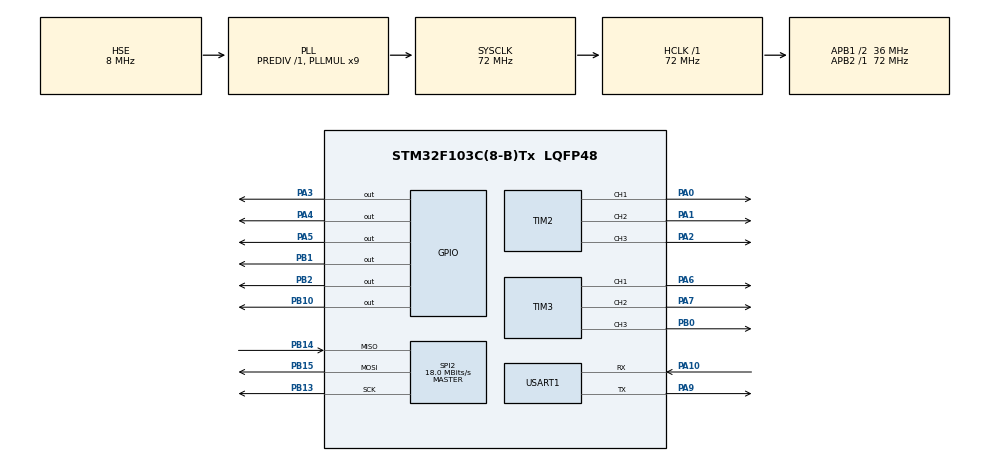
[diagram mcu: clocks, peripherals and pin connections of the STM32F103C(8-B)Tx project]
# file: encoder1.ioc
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Dma.Request0=USART1_RX
Dma.USART1_RX.0.Direction=DMA_PERIPH_TO_MEMORY
Dma.USART1_RX.0.Instance=DMA1_Channel5
Dma.USART1_RX.0.MemDataAlignment=DMA_MDATAALIGN_BYTE
Dma.USART1_RX.0.MemInc=DMA_MINC_ENABLE
Dma.USART1_RX.0.Mode=DMA_CIRCULAR
Dma.USART1_RX.0.PeriphDataAlignment=DMA_PDATAALIGN_BYTE
Dma.USART1_RX.0.PeriphInc=DMA_PINC_DISABLE
Dma.USART1_RX.0.Priority=DMA_PRIORITY_LOW
Mcu.Family=STM32F1
Mcu.Name=STM32F103C(8-B)Tx
Mcu.Package=LQFP48
NVIC.DMA1_Channel5_IRQn=true\:0\:0\:false\:false\:true\:false\:true\:true
NVIC.PriorityGroup=NVIC_PRIORITYGROUP_4
PA0-WKUP.Signal=S_TIM2_CH1_ETR
PA1.Signal=S_TIM2_CH2
PA10.Mode=Asynchronous
PA10.Signal=USART1_RX
PA13.Mode=Serial_Wire
PA13.Signal=SYS_JTMS-SWDIO
PA14.Mode=Serial_Wire
PA14.Signal=SYS_JTCK-SWCLK
PA2.Signal=S_TIM2_CH3
PA3.Signal=GPIO_Output
PA4.Signal=GPIO_Output
PA5.Signal=GPIO_Output
PA6.Signal=S_TIM3_CH1
PA7.Signal=S_TIM3_CH2
PA9.Mode=Asynchronous
PA9.Signal=USART1_TX
PB0.Signal=S_TIM3_CH3
PB1.Signal=GPIO_Output
PB10.Signal=GPIO_Output
PB13.Mode=Full_Duplex_Master
PB13.Signal=SPI2_SCK
PB14.Mode=Full_Duplex_Master
PB14.Signal=SPI2_MISO
PB15.Mode=Full_Duplex_Master
PB15.Signal=SPI2_MOSI
PB2.Signal=GPIO_Output
PD0-OSC_IN.Mode=HSE-External-Oscillator
PD0-OSC_IN.Signal=RCC_OSC_IN
PD1-OSC_OUT.Mode=HSE-External-Oscillator
PD1-OSC_OUT.Signal=RCC_OSC_OUT
ProjectManager.HeapSize=0x200
ProjectManager.StackSize=0x400
ProjectManager.TargetToolchain=STM32CubeIDE
RCC.AHBFreq_Value=72000000
RCC.APB1CLKDivider=RCC_HCLK_DIV2
RCC.APB1Freq_Value=36000000
RCC.APB1TimFreq_Value=72000000
RCC.APB2Freq_Value=72000000
RCC.APB2TimFreq_Value=72000000
RCC.HCLKFreq_Value=72000000
RCC.PLLMUL=RCC_PLL_MUL9
RCC.PLLSourceVirtual=RCC_PLLSOURCE_HSE
RCC.SYSCLKFreq_VALUE=72000000
RCC.SYSCLKSource=RCC_SYSCLKSOURCE_PLLCLK
RCC.USBFreq_Value=72000000
SH.S_TIM2_CH1_ETR.0=TIM2_CH1,PWM Generation1 CH1
SH.S_TIM2_CH2.0=TIM2_CH2,PWM Generation2 CH2
SH.S_TIM2_CH3.0=TIM2_CH3,PWM Generation3 CH3
SH.S_TIM3_CH1.0=TIM3_CH1,PWM Generation1 CH1
SH.S_TIM3_CH2.0=TIM3_CH2,PWM Generation2 CH2
SH.S_TIM3_CH3.0=TIM3_CH3,PWM Generation3 CH3
SPI2.BaudRatePrescaler=SPI_BAUDRATEPRESCALER_2
SPI2.CalculateBaudRate=18.0 MBits/s
SPI2.Direction=SPI_DIRECTION_2LINES
SPI2.Mode=SPI_MODE_MASTER
SPI2.VirtualType=VM_MASTER
TIM2.Channel-PWM\ Generation1\ CH1=TIM_CHANNEL_1
TIM2.Channel-PWM\ Generation2\ CH2=TIM_CHANNEL_2
TIM2.Channel-PWM\ Generation3\ CH3=TIM_CHANNEL_3
TIM3.Channel-PWM\ Generation1\ CH1=TIM_CHANNEL_1
TIM3.Channel-PWM\ Generation2\ CH2=TIM_CHANNEL_2
TIM3.Channel-PWM\ Generation3\ CH3=TIM_CHANNEL_3
USART1.VirtualMode=VM_ASYNC
board=custom

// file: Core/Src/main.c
/* USER CODE BEGIN Header */
/**
  ******************************************************************************
  * @file           : main.c
  * @brief          : Main program body
  ******************************************************************************
  * @attention
  *
  * Copyright (c) 2026 STMicroelectronics.
  * All rights reserved.
  *
  * This software is licensed under terms that can be found in the LICENSE file
  * in the root directory of this software component.
  * If no LICENSE file comes with this software, it is provided AS-IS.
  *
  ******************************************************************************
  */
/* USER CODE END Header */
#include "main.h"

/* USER CODE BEGIN PD */
#define ENCODER_GEAR 9.0f
#define WHEEL_GEAR   108.0f

/* USER CODE END PD */

SPI_HandleTypeDef hspi2;

TIM_HandleTypeDef htim2;
TIM_HandleTypeDef htim3;

UART_HandleTypeDef huart1;
DMA_HandleTypeDef hdma_usart1_rx;

/* USER CODE BEGIN PV */
volatile uint8_t UART1_rxBuffer[2];

/* USER CODE END PV */

void SystemClock_Config(void);
static void MX_GPIO_Init(void);
static void MX_DMA_Init(void);
static void MX_SPI2_Init(void);
static void MX_TIM2_Init(void);
static void MX_TIM3_Init(void);
static void MX_USART1_UART_Init(void);
/* USER CODE BEGIN PFP */
void setMotor(uint8_t joystick[2]) {
    int x = (int)joystick[0] - 127;
    int y = (int)joystick[1] - 127;

    if (abs(y) > abs(x)) {
        // forward / backward
        if (y > 0) {
            HAL_GPIO_WritePin(GPIOA, GPIO_PIN_3, GPIO_PIN_RESET);
            HAL_GPIO_WritePin(GPIOA, GPIO_PIN_4, GPIO_PIN_RESET);
            HAL_GPIO_WritePin(GPIOA, GPIO_PIN_5, GPIO_PIN_RESET);
            HAL_GPIO_WritePin(GPIOB, GPIO_PIN_1, GPIO_PIN_RESET);
            HAL_GPIO_WritePin(GPIOB, GPIO_PIN_2, GPIO_PIN_RESET);
            HAL_GPIO_WritePin(GPIOB, GPIO_PIN_10, GPIO_PIN_RESET);
            // FORWARD
            TIM2->CCR1 = 2 * abs(y);
            TIM2->CCR2 = 2 * abs(y);
            TIM2->CCR3 = 2 * abs(y);
            TIM3->CCR1 = 2 * abs(y);
            TIM3->CCR2 = 2 * abs(y);
            TIM3->CCR3 = 2 * abs(y);
            // speed = y
        } else {
        	  HAL_GPIO_WritePin(GPIOA, GPIO_PIN_3, GPIO_PIN_SET);
        	  HAL_GPIO_WritePin(GPIOA, GPIO_PIN_4, GPIO_PIN_SET);
        	  HAL_GPIO_WritePin(GPIOA, GPIO_PIN_5, GPIO_PIN_SET);
        	  HAL_GPIO_WritePin(GPIOB, GPIO_PIN_1, GPIO_PIN_SET);
        	  HAL_GPIO_WritePin(GPIOB, GPIO_PIN_2, GPIO_PIN_SET);
        	  HAL_GPIO_WritePin(GPIOB, GPIO_PIN_10, GPIO_PIN_SET);
        	            // FORWARD
        	            TIM2->CCR1 = 2 * abs(y);
        	            TIM2->CCR2 = 2 * abs(y);
        	            TIM2->CCR3 = 2 * abs(y);
        	            TIM3->CCR1 = 2 * abs(y);
        	            TIM3->CCR2 = 2 * abs(y);
        	            TIM3->CCR3 = 2 * abs(y);
        	            // speed = y

        }
    } else if (abs(x) > abs(y)) {
        // rotation
        if (x > 0) {
        	  HAL_GPIO_WritePin(GPIOA, GPIO_PIN_3, GPIO_PIN_RESET);
        	  HAL_GPIO_WritePin(GPIOA, GPIO_PIN_4, GPIO_PIN_RESET);
        	  HAL_GPIO_WritePin(GPIOA, GPIO_PIN_5, GPIO_PIN_RESET);
        	  HAL_GPIO_WritePin(GPIOB, GPIO_PIN_1, GPIO_PIN_SET);
        	  HAL_GPIO_WritePin(GPIOB, GPIO_PIN_2, GPIO_PIN_SET);
        	  HAL_GPIO_WritePin(GPIOB, GPIO_PIN_10, GPIO_PIN_SET);

        	            TIM2->CCR1 = 2 * abs(x);
        	            TIM2->CCR2 = 2 * abs(x);
        	            TIM2->CCR3 = 2 * abs(x);
        	            TIM3->CCR1 = 2 * abs(x);
        	            TIM3->CCR2 = 2 * abs(x);
        	            TIM3->CCR3 = 2 * abs(x);
        	            // speed = y

        } else {
        	HAL_GPIO_WritePin(GPIOA, GPIO_PIN_3, GPIO_PIN_SET);
        	HAL_GPIO_WritePin(GPIOA, GPIO_PIN_4, GPIO_PIN_SET);
            HAL_GPIO_WritePin(GPIOA, GPIO_PIN_5, GPIO_PIN_SET);
        	HAL_GPIO_WritePin(GPIOB, GPIO_PIN_1, GPIO_PIN_RESET);
            HAL_GPIO_WritePin(GPIOB, GPIO_PIN_2, GPIO_PIN_RESET);
        	HAL_GPIO_WritePin(GPIOB, GPIO_PIN_10, GPIO_PIN_RESET);
        	        	            // FORWARD
        	        	            TIM2->CCR1 = 2 * abs(x);
        	        	            TIM2->CCR2 = 2 * abs(x);
        	        	            TIM2->CCR3 = 2 * abs(x);
        	        	            TIM3->CCR1 = 2 * abs(x);
        	        	            TIM3->CCR2 = 2 * abs(x);
        	        	            TIM3->CCR3 = 2 * abs(x);
        	        	            // speed = y

        }
    } else {
    	TIM2->CCR1 =0;
        TIM2->CCR2 = 0;
    	TIM2->CCR3 = 0;
    	TIM3->CCR1 = 0;
    	TIM3->CCR2 = 0;
    	TIM3->CCR3 = 0;
    }
}

/* USER CODE END PFP */

int main(void)
{

  /* MCU Configuration--------------------------------------------------------*/

  /* Reset of all peripherals, Initializes the Flash interface and the Systick. */
  HAL_Init();

  /* Configure the system clock */
  SystemClock_Config();

  /* Initialize all configured peripherals */
  MX_GPIO_Init();
  MX_DMA_Init();
  MX_SPI2_Init();
  MX_TIM2_Init();
  MX_TIM3_Init();
  MX_USART1_UART_Init();
  /* USER CODE BEGIN 2 */
  HAL_UART_Receive_DMA(&huart1, UART1_rxBuffer, 2);
  HAL_TIM_PWM_Start(&htim2, TIM_CHANNEL_1);
  HAL_TIM_PWM_Start(&htim2, TIM_CHANNEL_2);
  HAL_TIM_PWM_Start(&htim2, TIM_CHANNEL_3);
  HAL_TIM_PWM_Start(&htim3, TIM_CHANNEL_1);
  HAL_TIM_PWM_Start(&htim3, TIM_CHANNEL_2);
  HAL_TIM_PWM_Start(&htim3, TIM_CHANNEL_3);

  /* USER CODE END 2 */

  /* Infinite loop */
  while (1)
  {

    /* USER CODE BEGIN 3 */
	  setMotor(UART1_rxBuffer);

  }
  /* USER CODE END 3 */
}

void SystemClock_Config(void)
{
  RCC_OscInitTypeDef RCC_OscInitStruct = {0};
  RCC_ClkInitTypeDef RCC_ClkInitStruct = {0};

  /** Initializes the RCC Oscillators according to the specified parameters
  * in the RCC_OscInitTypeDef structure.
  */
  RCC_OscInitStruct.OscillatorType = RCC_OSCILLATORTYPE_HSE;
  RCC_OscInitStruct.HSEState = RCC_HSE_ON;
  RCC_OscInitStruct.HSEPredivValue = RCC_HSE_PREDIV_DIV1;
  RCC_OscInitStruct.HSIState = RCC_HSI_ON;
  RCC_OscInitStruct.PLL.PLLState = RCC_PLL_ON;
  RCC_OscInitStruct.PLL.PLLSource = RCC_PLLSOURCE_HSE;
  RCC_OscInitStruct.PLL.PLLMUL = RCC_PLL_MUL9;
  if (HAL_RCC_OscConfig(&RCC_OscInitStruct) != HAL_OK)
  {
    Error_Handler();
  }

  /** Initializes the CPU, AHB and APB buses clocks
  */
  RCC_ClkInitStruct.ClockType = RCC_CLOCKTYPE_HCLK|RCC_CLOCKTYPE_SYSCLK
                              |RCC_CLOCKTYPE_PCLK1|RCC_CLOCKTYPE_PCLK2;
  RCC_ClkInitStruct.SYSCLKSource = RCC_SYSCLKSOURCE_PLLCLK;
  RCC_ClkInitStruct.AHBCLKDivider = RCC_SYSCLK_DIV1;
  RCC_ClkInitStruct.APB1CLKDivider = RCC_HCLK_DIV2;
  RCC_ClkInitStruct.APB2CLKDivider = RCC_HCLK_DIV1;

  if (HAL_RCC_ClockConfig(&RCC_ClkInitStruct, FLASH_LATENCY_2) != HAL_OK)
  {
    Error_Handler();
  }
}

static void MX_SPI2_Init(void)
{

  /* SPI2 parameter configuration*/
  hspi2.Instance = SPI2;
  hspi2.Init.Mode = SPI_MODE_MASTER;
  hspi2.Init.Direction = SPI_DIRECTION_2LINES;
  hspi2.Init.DataSize = SPI_DATASIZE_8BIT;
  hspi2.Init.CLKPolarity = SPI_POLARITY_LOW;
  hspi2.Init.CLKPhase = SPI_PHASE_1EDGE;
  hspi2.Init.NSS = SPI_NSS_SOFT;
  hspi2.Init.BaudRatePrescaler = SPI_BAUDRATEPRESCALER_2;
  hspi2.Init.FirstBit = SPI_FIRSTBIT_MSB;
  hspi2.Init.TIMode = SPI_TIMODE_DISABLE;
  hspi2.Init.CRCCalculation = SPI_CRCCALCULATION_DISABLE;
  hspi2.Init.CRCPolynomial = 10;
  if (HAL_SPI_Init(&hspi2) != HAL_OK)
  {
    Error_Handler();
  }

}

static void MX_TIM2_Init(void)
{

  TIM_MasterConfigTypeDef sMasterConfig = {0};
  TIM_OC_InitTypeDef sConfigOC = {0};

  htim2.Instance = TIM2;
  htim2.Init.Prescaler = 0;
  htim2.Init.CounterMode = TIM_COUNTERMODE_UP;
  htim2.Init.Period = 65535;
  htim2.Init.ClockDivision = TIM_CLOCKDIVISION_DIV1;
  htim2.Init.AutoReloadPreload = TIM_AUTORELOAD_PRELOAD_DISABLE;
  if (HAL_TIM_PWM_Init(&htim2) != HAL_OK)
  {
    Error_Handler();
  }
  sMasterConfig.MasterOutputTrigger = TIM_TRGO_RESET;
  sMasterConfig.MasterSlaveMode = TIM_MASTERSLAVEMODE_DISABLE;
  if (HAL_TIMEx_MasterConfigSynchronization(&htim2, &sMasterConfig) != HAL_OK)
  {
    Error_Handler();
  }
  sConfigOC.OCMode = TIM_OCMODE_PWM1;
  sConfigOC.Pulse = 0;
  sConfigOC.OCPolarity = TIM_OCPOLARITY_HIGH;
  sConfigOC.OCFastMode = TIM_OCFAST_DISABLE;
  if (HAL_TIM_PWM_ConfigChannel(&htim2, &sConfigOC, TIM_CHANNEL_1) != HAL_OK)
  {
    Error_Handler();
  }
  if (HAL_TIM_PWM_ConfigChannel(&htim2, &sConfigOC, TIM_CHANNEL_2) != HAL_OK)
  {
    Error_Handler();
  }
  if (HAL_TIM_PWM_ConfigChannel(&htim2, &sConfigOC, TIM_CHANNEL_3) != HAL_OK)
  {
    Error_Handler();
  }
  HAL_TIM_MspPostInit(&htim2);

}

static void MX_TIM3_Init(void)
{

  TIM_MasterConfigTypeDef sMasterConfig = {0};
  TIM_OC_InitTypeDef sConfigOC = {0};

  htim3.Instance = TIM3;
  htim3.Init.Prescaler = 0;
  htim3.Init.CounterMode = TIM_COUNTERMODE_UP;
  htim3.Init.Period = 65535;
  htim3.Init.ClockDivision = TIM_CLOCKDIVISION_DIV1;
  htim3.Init.AutoReloadPreload = TIM_AUTORELOAD_PRELOAD_DISABLE;
  if (HAL_TIM_PWM_Init(&htim3) != HAL_OK)
  {
    Error_Handler();
  }
  sMasterConfig.MasterOutputTrigger = TIM_TRGO_RESET;
  sMasterConfig.MasterSlaveMode = TIM_MASTERSLAVEMODE_DISABLE;
  if (HAL_TIMEx_MasterConfigSynchronization(&htim3, &sMasterConfig) != HAL_OK)
  {
    Error_Handler();
  }
  sConfigOC.OCMode = TIM_OCMODE_PWM1;
  sConfigOC.Pulse = 0;
  sConfigOC.OCPolarity = TIM_OCPOLARITY_HIGH;
  sConfigOC.OCFastMode = TIM_OCFAST_DISABLE;
  if (HAL_TIM_PWM_ConfigChannel(&htim3, &sConfigOC, TIM_CHANNEL_1) != HAL_OK)
  {
    Error_Handler();
  }
  if (HAL_TIM_PWM_ConfigChannel(&htim3, &sConfigOC, TIM_CHANNEL_2) != HAL_OK)
  {
    Error_Handler();
  }
  if (HAL_TIM_PWM_ConfigChannel(&htim3, &sConfigOC, TIM_CHANNEL_3) != HAL_OK)
  {
    Error_Handler();
  }
  HAL_TIM_MspPostInit(&htim3);

}

static void MX_USART1_UART_Init(void)
{

  huart1.Instance = USART1;
  huart1.Init.BaudRate = 115200;
  huart1.Init.WordLength = UART_WORDLENGTH_8B;
  huart1.Init.StopBits = UART_STOPBITS_1;
  huart1.Init.Parity = UART_PARITY_NONE;
  huart1.Init.Mode = UART_MODE_TX_RX;
  huart1.Init.HwFlowCtl = UART_HWCONTROL_NONE;
  huart1.Init.OverSampling = UART_OVERSAMPLING_16;
  if (HAL_UART_Init(&huart1) != HAL_OK)
  {
    Error_Handler();
  }

}

static void MX_DMA_Init(void)
{

  /* DMA controller clock enable */
  __HAL_RCC_DMA1_CLK_ENABLE();

  /* DMA interrupt init */
  /* DMA1_Channel5_IRQn interrupt configuration */
  HAL_NVIC_SetPriority(DMA1_Channel5_IRQn, 0, 0);
  HAL_NVIC_EnableIRQ(DMA1_Channel5_IRQn);

}

static void MX_GPIO_Init(void)
{
  GPIO_InitTypeDef GPIO_InitStruct = {0};

  /* GPIO Ports Clock Enable */
  __HAL_RCC_GPIOD_CLK_ENABLE();
  __HAL_RCC_GPIOA_CLK_ENABLE();
  __HAL_RCC_GPIOB_CLK_ENABLE();

  /*Configure GPIO pin Output Level */
  HAL_GPIO_WritePin(GPIOA, GPIO_PIN_3|GPIO_PIN_4|GPIO_PIN_5, GPIO_PIN_RESET);

  /*Configure GPIO pin Output Level */
  HAL_GPIO_WritePin(GPIOB, GPIO_PIN_1|GPIO_PIN_2|GPIO_PIN_10, GPIO_PIN_RESET);

  /*Configure GPIO pins : PA3 PA4 PA5 */
  GPIO_InitStruct.Pin = GPIO_PIN_3|GPIO_PIN_4|GPIO_PIN_5;
  GPIO_InitStruct.Mode = GPIO_MODE_OUTPUT_PP;
  GPIO_InitStruct.Pull = GPIO_NOPULL;
  GPIO_InitStruct.Speed = GPIO_SPEED_FREQ_LOW;
  HAL_GPIO_Init(GPIOA, &GPIO_InitStruct);

  /*Configure GPIO pins : PB1 PB2 PB10 */
  GPIO_InitStruct.Pin = GPIO_PIN_1|GPIO_PIN_2|GPIO_PIN_10;
  GPIO_InitStruct.Mode = GPIO_MODE_OUTPUT_PP;
  GPIO_InitStruct.Pull = GPIO_NOPULL;
  GPIO_InitStruct.Speed = GPIO_SPEED_FREQ_LOW;
  HAL_GPIO_Init(GPIOB, &GPIO_InitStruct);

}

void Error_Handler(void)
{
  __disable_irq();
  while (1)
  {
  }
}
